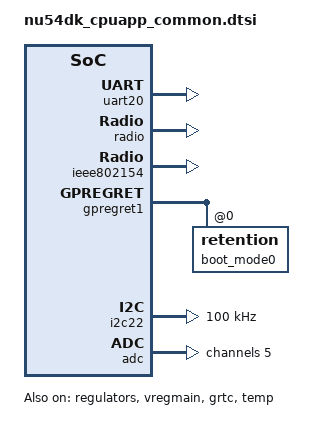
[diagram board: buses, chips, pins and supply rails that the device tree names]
/**
 * @file nu54dk_cpuapp_common.dtsi
 * @brief Nordic nRF54L15 DK CPUAPP 공통 정의를 NU54DK용으로 수정한 파일
 *
 * Copyright (c) 2024 Nordic Semiconductor ASA
 * Modifications Copyright (c) 2026 Quantum (NUCODE)
 * SPDX-License-Identifier: Apache-2.0
 */

#include "nu54dk_common.dtsi"

/ {
	chosen {
		zephyr,console = &uart20;
		zephyr,shell-uart = &uart20;
		zephyr,uart-mcumgr = &uart20;
		zephyr,bt-mon-uart = &uart20;
		zephyr,bt-c2h-uart = &uart20;
		zephyr,flash-controller = &rram_controller;
		zephyr,flash = &cpuapp_rram;
		zephyr,ieee802154 = &ieee802154;
		zephyr,boot-mode = &boot_mode0;
	};

	aliases {
		mcuboot-button0 = &button0;
		mcuboot-led0 = &led0;
	};
};

&cpuapp_sram {
	status = "okay";
};

&lfxo {
	load-capacitors = "internal";
	load-capacitance-femtofarad = <17000>;
};

&hfxo {
	load-capacitors = "internal";
	load-capacitance-femtofarad = <15000>;
};

&regulators {
	status = "okay";
};

&vregmain {
	status = "okay";
	regulator-initial-mode = <NRF5X_REG_MODE_DCDC>;
};

&grtc {
	owned-channels = <0 1 2 3 4 5 6 7 8 9 10 11>;
	child-owned-channels = <3 4 7 8 9 10 11>;
	status = "okay";
};

&uart20 {
	status = "okay";
};

&nfct {
	status = "disabled";
};

&gpio0 {
	status = "okay";
};

&gpio1 {
	status = "okay";
};

&gpio2 {
	status = "okay";
};

&gpiote20 {
	status = "okay";
};

&gpiote30 {
	status = "okay";
};

&radio {
	status = "okay";
};

&ieee802154 {
	status = "okay";
};

&temp {
	status = "okay";
};

&clock {
	status = "okay";
};

&gpregret1 {
	status = "okay";

	boot_mode0: boot_mode@0 {
		compatible = "zephyr,retention";
		status = "okay";
		reg = <0x0 0x1>;
	};
};

&i2c22 {
	status = "okay";
	clock-frequency = <100000>;
	pinctrl-0 = <&i2c22_default>;
	pinctrl-1 = <&i2c22_sleep>;
	pinctrl-names = "default", "sleep";

	/** 배터리 사양을 지정하는 오버레이에서만 활성화한다. */
	bq25186: bq25186@6a {
		compatible = "ti,bq25186";
		reg = <0x6a>;
		status = "disabled";
	};
};

&adc {
	#address-cells = <1>;
	#size-cells = <0>;
	status = "okay";

	channel@5 {
		reg = <5>;
		zephyr,gain = "ADC_GAIN_1_6";
		zephyr,reference = "ADC_REF_INTERNAL";
		zephyr,acquisition-time = <ADC_ACQ_TIME_DEFAULT>;
		zephyr,input-positive = <NRF_SAADC_AIN5>;
		zephyr,resolution = <12>;
	};
};
